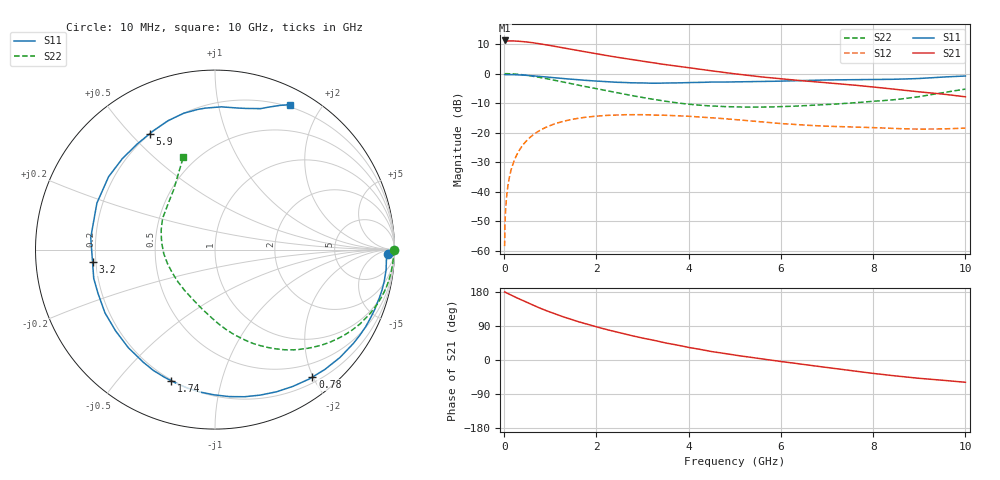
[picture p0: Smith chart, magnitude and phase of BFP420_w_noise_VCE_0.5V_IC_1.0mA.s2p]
! Infineon Technologies  Discrete & RF Semiconductors
! BFP420
! VCE =  0.5 V,  IC =  1.0 mA
! Common Emitter S-Parameters:  Jan 2016
# GHz  S  MA  R  50
!  f  S11  S21  S12  S22
! GHz  MAG  ANG  MAG  ANG  MAG  ANG  MAG  ANG
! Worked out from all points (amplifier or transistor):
!   233 points, 10 MHz to 10 GHz, reference 50 ohm
!   highest |S21| = 11.2 dB at 10 MHz (marker M1)
!   |S21| within 3 dB of that: start of sweep to 1.454 GHz
!   unconditionally stable (mu >= 1): 4.345 GHz to end of sweep
!   at 200 MHz: K = 0.02, MSG = 20.6 dB, |S12| = -30.2 dB
!   at 1.74 GHz: K = 0.34, MSG = 11.1 dB, |S12| = -14.8 dB
!   at 10 GHz: K = 1.31, MAG = 1.9 dB, |S12| = -18.5 dB
!   lowest NFmin = 0.53 dB at 900 MHz
!   S11 on the Smith chart (normalised r, x): 10 MHz: 34, -25; 780 MHz: 0.28, -1.99; 1.74 GHz: 0.20, -0.70; 3.2 GHz: 0.19, -0.05; 5.9 GHz: 0.20, +0.57; 10 GHz: 0.17, +1.63
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0.01  0.9624 -1.6  3.631 179.5  0.0012 93.2  0.995 -0.2
0.02  0.9599 -1.3  3.522 179.3  0.0032 88.8  0.9955 -0.9
0.055  0.9569 -3.7  3.548 176.8  0.0085 87.6  0.9948 -2.5
0.105  0.9598 -7.1  3.568 174.1  0.0163 85.4  0.9928 -4.9
0.165  0.9586 -11.2  3.565 170.5  0.0256 82.6  0.9882 -7.8
0.3  0.9503 -20.6  3.526 162.7  0.0462 76.6  0.9718 -14.1
0.5  0.9314 -34.2  3.415 151.4  0.0749 67.7  0.9321 -22.9
0.78  0.8939 -52.6  3.183 136.7  0.1098 55.8  0.8589 -34.1
1  0.8632 -66.6  2.983 126.2  0.1324 47.5  0.7963 -42.0
1.2  0.836 -78.7  2.795 117.3  0.1495 40.4  0.7406 -48.4
1.68  0.7765 -105.5  2.393 98.5  0.1785 25.6  0.6208 -61.5
1.74  0.7699 -108.6  2.345 96.4  0.1811 24.0  0.6077 -62.9
2.4  0.7153 -140.8  1.916 74.8  0.1993 7.5  0.4801 -78.0
2.8  0.6969 -158.6  1.706 63.3  0.2018 -1.1  0.4192 -86.5
3.2  0.6858 -174.1  1.53 53.1  0.199 -8.5  0.3702 -94.8
3.4  0.6893 178.2  1.453 47.8  0.1974 -12.1  0.3492 -99.4
4  0.7072 158.5  1.259 33.2  0.1893 -21.3  0.3031 -114.3
5.1  0.7235 133.6  0.969 11.2  0.1642 -33.5  0.2719 -141.7
5.9  0.7414 119.3  0.829 -2.2  0.1449 -38.2  0.2739 -161.2
6.8  0.7719 105.7  0.717 -16.6  0.1307 -39.7  0.2926 177.5
8.4  0.7989 80.8  0.549 -40.9  0.1181 -40.7  0.3575 138.7
10  0.9092 62.7  0.404 -58.7  0.1193 -36.6  0.5461 108.8
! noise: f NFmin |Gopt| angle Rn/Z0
0.9  0.53  0.67  34  0.35
1.8  1.15  0.44  77  0.27
2.4  1.28  0.44  100  0.22
3  1.61  0.45  131  0.15
4  1.9  0.47  -177  0.09
5  2.32  0.44  -133  0.45
6  3.43  0.6  -118  0.25
